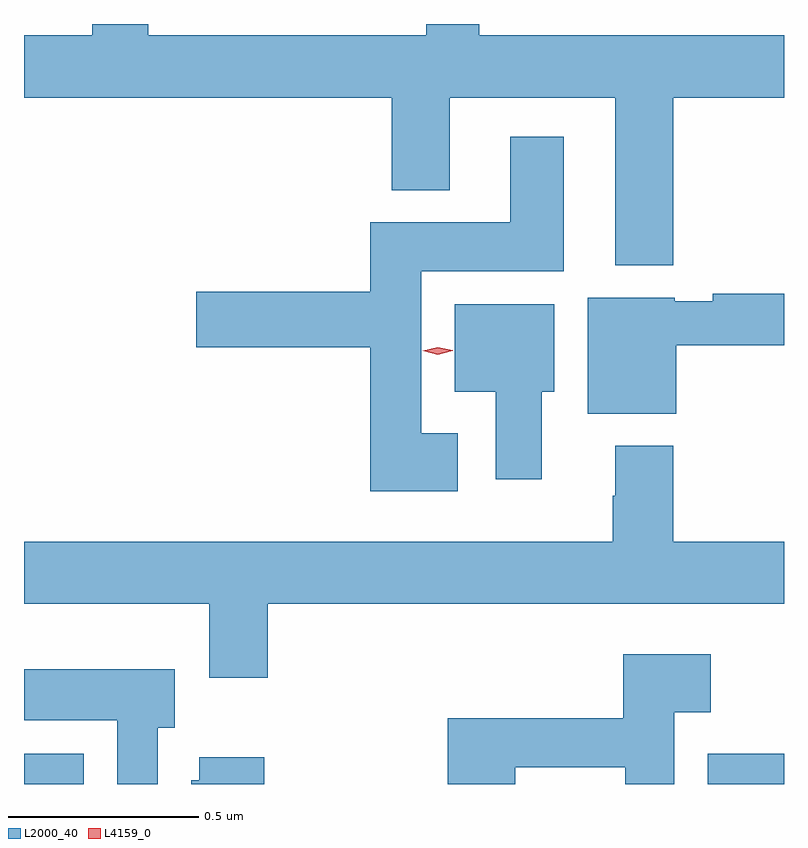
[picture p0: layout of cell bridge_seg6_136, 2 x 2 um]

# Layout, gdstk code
import gdstk
lib = gdstk.Library(unit=1e-6, precision=1e-09)
def R(c, l, rs):  # rectangles x0, y0, x1, y1
    for r in rs: c.add(gdstk.rectangle(r[:2], r[2:], *l))
def P(c, l, *ps):  # polygons
    for p in ps: c.add(gdstk.Polygon(p, *l))
L2000_40 = (2000, 40)
L4159_0 = (4159, 0)

bridge_seg6_136 = lib.new_cell('bridge_seg6_136')
R(bridge_seg6_136, L2000_40, [(406.641,933.542,406.798,933.622), (408.44,933.542,408.641,933.622)])
P(bridge_seg6_136, L2000_40, [(408.35,935.348),(408.641,935.348),(408.641,935.512),(407.839,935.512),(407.839,935.542),(407.7,935.542),(407.7,935.512),(406.968,935.512),(406.968,935.542),(406.82,935.542),(406.82,935.512),(406.641,935.512),(406.641,935.348),(407.609,935.348),(407.609,935.105),(407.761,935.105),(407.761,935.348),(408.197,935.348),(408.197,934.907),(408.35,934.907)],
  [(407.782,934.465),(407.686,934.465),(407.686,934.892),(408.061,934.892),(408.061,935.245),(407.921,935.245),(407.921,935.02),(407.552,935.02),(407.552,934.838),(407.094,934.838),(407.094,934.691),(407.552,934.691),(407.552,934.313),(407.782,934.313)],
  [(408.358,934.696),(408.641,934.696),(408.641,934.832),(408.454,934.832),(408.454,934.812),(408.354,934.812),(408.354,934.822),(408.125,934.822),(408.125,934.517),(408.358,934.517)],
  [(408.004,934.574),(408.037,934.574),(408.037,934.804),(407.774,934.804),(407.774,934.574),(407.882,934.574),(407.882,934.344),(408.004,934.344)],
  [(407.282,934.016),(408.641,934.016),(408.641,934.18),(408.35,934.18),(408.35,934.432),(408.197,934.432),(408.197,934.301),(408.19,934.301),(408.19,934.18),(406.641,934.18),(406.641,934.016),(407.129,934.016),(407.129,933.822),(407.282,933.822)],
  [(407.934,933.586),(408.223,933.586),(408.223,933.542),(408.352,933.542),(408.352,933.731),(408.448,933.731),(408.448,933.883),(408.218,933.883),(408.218,933.715),(407.756,933.715),(407.756,933.542),(407.934,933.542)],
  [(406.993,933.69),(407.038,933.69),(407.038,933.844),(406.641,933.844),(406.641,933.71),(406.886,933.71),(406.886,933.542),(406.993,933.542)],
  [(407.273,933.613),(407.102,933.613),(407.102,933.552),(407.081,933.552),(407.081,933.542),(407.273,933.542)])
P(bridge_seg6_136, L4159_0, [(407.73,934.672),(407.69,934.682),(407.69,934.682),(407.69,934.682),(407.73,934.692),(407.769,934.683),(407.769,934.682),(407.769,934.682)])

lib.write_gds('bridge_seg6_136.gds')
